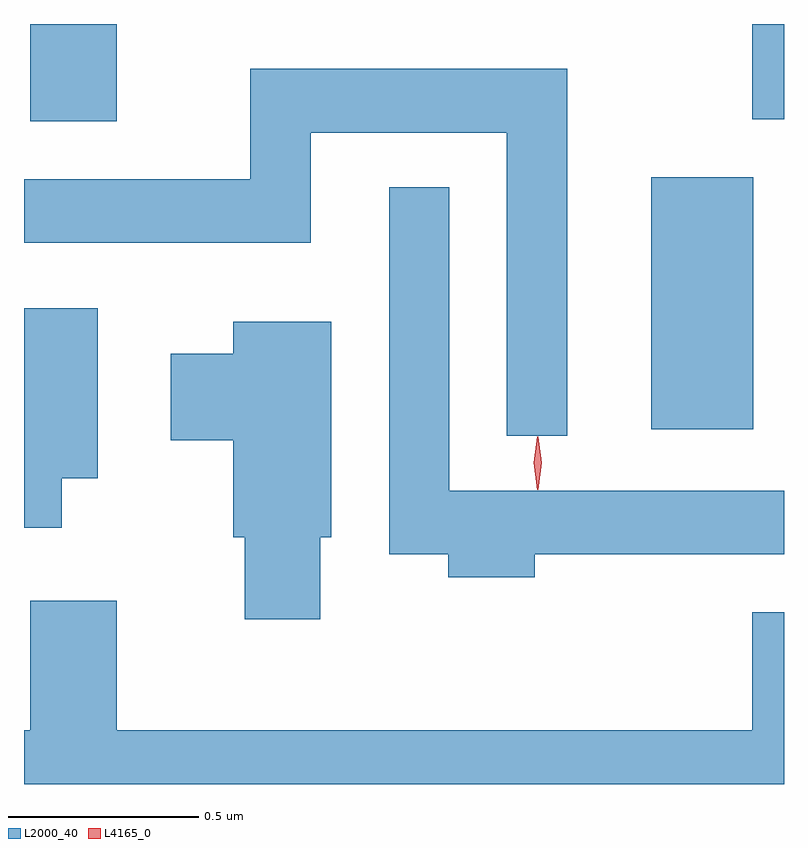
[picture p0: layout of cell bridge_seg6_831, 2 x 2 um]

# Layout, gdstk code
import gdstk
lib = gdstk.Library(unit=1e-6, precision=1e-09)
def R(c, l, rs):  # rectangles x0, y0, x1, y1
    for r in rs: c.add(gdstk.rectangle(r[:2], r[2:], *l))
def P(c, l, *ps):  # polygons
    for p in ps: c.add(gdstk.Polygon(p, *l))
L2000_40 = (2000, 40)
L4165_0 = (4165, 0)

bridge_seg6_831 = lib.new_cell('bridge_seg6_831')
R(bridge_seg6_831, L2000_40, [(527.166,1548.876,527.434,1549.539), (525.531,1549.686,525.759,1549.942), (527.431,1549.691,527.515,1549.942)])
P(bridge_seg6_831, L2000_40, [(526.944,1549.824),(526.111,1549.824),(526.111,1549.534),(525.515,1549.534),(525.515,1549.366),(526.269,1549.366),(526.269,1549.656),(526.786,1549.656),(526.786,1548.858),(526.944,1548.858)],
  [(526.859,1548.546),(527.515,1548.546),(527.515,1548.714),(526.634,1548.714),(526.634,1549.513),(526.476,1549.513),(526.476,1548.546),(526.631,1548.546),(526.631,1548.486),(526.859,1548.486)],
  [(525.614,1548.746),(525.709,1548.746),(525.709,1549.194),(525.515,1549.194),(525.515,1548.616),(525.614,1548.616)],
  [(526.294,1548.591),(526.324,1548.591),(526.324,1549.159),(526.066,1549.159),(526.066,1549.074),(525.901,1549.074),(525.901,1548.846),(526.066,1548.846),(526.066,1548.591),(526.096,1548.591),(526.096,1548.376),(526.294,1548.376)],
  [(525.531,1548.424),(525.531,1548.084),(525.515,1548.084),(525.515,1547.942),(527.515,1547.942),(527.515,1548.394),(527.431,1548.394),(527.431,1548.084),(525.759,1548.084),(525.759,1548.424)])
P(bridge_seg6_831, L4165_0, [(526.866,1548.717),(526.857,1548.787),(526.866,1548.856),(526.867,1548.856),(526.868,1548.856),(526.877,1548.787),(526.868,1548.717),(526.867,1548.717)])

lib.write_gds('bridge_seg6_831.gds')
